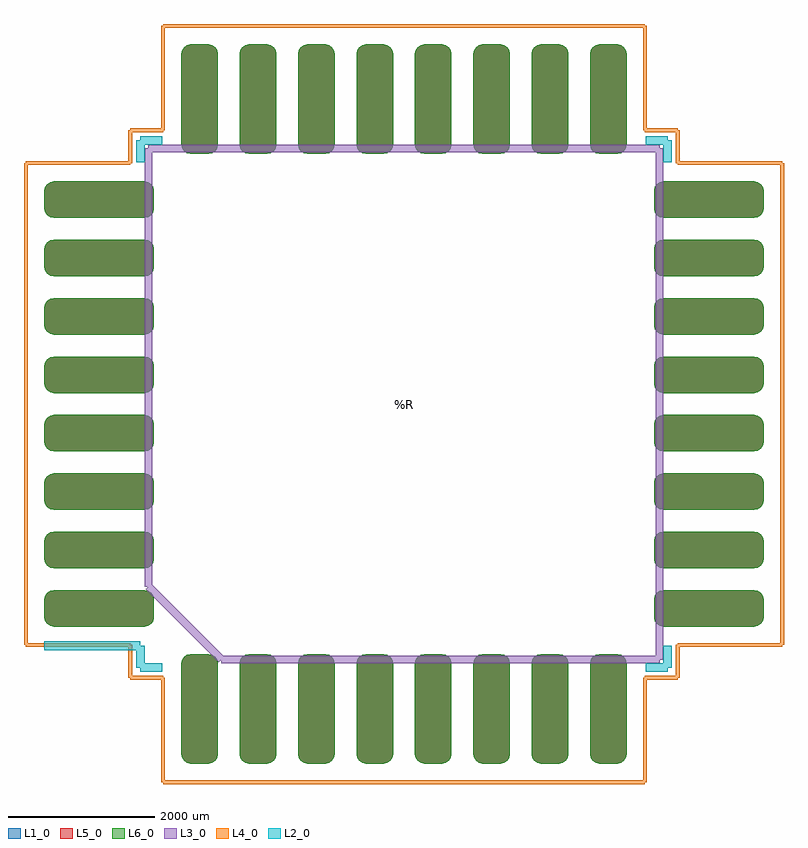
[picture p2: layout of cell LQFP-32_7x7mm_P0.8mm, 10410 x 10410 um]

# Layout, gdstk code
import gdstk
lib = gdstk.Library(unit=1e-6, precision=1e-09)
def P(c, l, *ps):  # polygons
    for p in ps: c.add(gdstk.Polygon(p, *l))
L1_0 = (1, 0)
L2_0 = (2, 0)
L3_0 = (3, 0)
L4_0 = (4, 0)
L5_0 = (5, 0)
L6_0 = (6, 0)

lqfp_32_7x7mm_p0_8mm = lib.new_cell('LQFP-32_7x7mm_P0.8mm')
P(lqfp_32_7x7mm_p0_8mm, L1_0, [(-3550,-3050),(-3502,-3040),(-3462,-3013),(-3435,-2973),(-3425,-2925),(-3425,-2675),(-3435,-2627),(-3462,-2587),(-3502,-2560),(-3550,-2550),(-4800,-2550),(-4848,-2560),(-4888,-2587),(-4915,-2627),(-4925,-2675),(-4925,-2925),(-4915,-2973),(-4888,-3013),(-4848,-3040),(-4800,-3050)],
  [(-3550,-2250),(-3502,-2240),(-3462,-2213),(-3435,-2173),(-3425,-2125),(-3425,-1875),(-3435,-1827),(-3462,-1787),(-3502,-1760),(-3550,-1750),(-4800,-1750),(-4848,-1760),(-4888,-1787),(-4915,-1827),(-4925,-1875),(-4925,-2125),(-4915,-2173),(-4888,-2213),(-4848,-2240),(-4800,-2250)],
  [(-3550,-1450),(-3502,-1440),(-3462,-1413),(-3435,-1373),(-3425,-1325),(-3425,-1075),(-3435,-1027),(-3462,-987),(-3502,-960),(-3550,-950),(-4800,-950),(-4848,-960),(-4888,-987),(-4915,-1027),(-4925,-1075),(-4925,-1325),(-4915,-1373),(-4888,-1413),(-4848,-1440),(-4800,-1450)],
  [(-3550,-650),(-3502,-640),(-3462,-613),(-3435,-573),(-3425,-525),(-3425,-275),(-3435,-227),(-3462,-187),(-3502,-160),(-3550,-150),(-4800,-150),(-4848,-160),(-4888,-187),(-4915,-227),(-4925,-275),(-4925,-525),(-4915,-573),(-4888,-613),(-4848,-640),(-4800,-650)],
  [(-3550,150),(-3502,160),(-3462,187),(-3435,227),(-3425,275),(-3425,525),(-3435,573),(-3462,613),(-3502,640),(-3550,650),(-4800,650),(-4848,640),(-4888,613),(-4915,573),(-4925,525),(-4925,275),(-4915,227),(-4888,187),(-4848,160),(-4800,150)],
  [(-3550,950),(-3502,960),(-3462,987),(-3435,1027),(-3425,1075),(-3425,1325),(-3435,1373),(-3462,1413),(-3502,1440),(-3550,1450),(-4800,1450),(-4848,1440),(-4888,1413),(-4915,1373),(-4925,1325),(-4925,1075),(-4915,1027),(-4888,987),(-4848,960),(-4800,950)],
  [(-3550,1750),(-3502,1760),(-3462,1787),(-3435,1827),(-3425,1875),(-3425,2125),(-3435,2173),(-3462,2213),(-3502,2240),(-3550,2250),(-4800,2250),(-4848,2240),(-4888,2213),(-4915,2173),(-4925,2125),(-4925,1875),(-4915,1827),(-4888,1787),(-4848,1760),(-4800,1750)],
  [(-3550,2550),(-3502,2560),(-3462,2587),(-3435,2627),(-3425,2675),(-3425,2925),(-3435,2973),(-3462,3013),(-3502,3040),(-3550,3050),(-4800,3050),(-4848,3040),(-4888,3013),(-4915,2973),(-4925,2925),(-4925,2675),(-4915,2627),(-4888,2587),(-4848,2560),(-4800,2550)],
  [(-2675,3425),(-2627,3435),(-2587,3462),(-2560,3502),(-2550,3550),(-2550,4800),(-2560,4848),(-2587,4888),(-2627,4915),(-2675,4925),(-2925,4925),(-2973,4915),(-3013,4888),(-3040,4848),(-3050,4800),(-3050,3550),(-3040,3502),(-3013,3462),(-2973,3435),(-2925,3425)],
  [(-1875,3425),(-1827,3435),(-1787,3462),(-1760,3502),(-1750,3550),(-1750,4800),(-1760,4848),(-1787,4888),(-1827,4915),(-1875,4925),(-2125,4925),(-2173,4915),(-2213,4888),(-2240,4848),(-2250,4800),(-2250,3550),(-2240,3502),(-2213,3462),(-2173,3435),(-2125,3425)],
  [(-1075,3425),(-1027,3435),(-987,3462),(-960,3502),(-950,3550),(-950,4800),(-960,4848),(-987,4888),(-1027,4915),(-1075,4925),(-1325,4925),(-1373,4915),(-1413,4888),(-1440,4848),(-1450,4800),(-1450,3550),(-1440,3502),(-1413,3462),(-1373,3435),(-1325,3425)],
  [(-275,3425),(-227,3435),(-187,3462),(-160,3502),(-150,3550),(-150,4800),(-160,4848),(-187,4888),(-227,4915),(-275,4925),(-525,4925),(-573,4915),(-613,4888),(-640,4848),(-650,4800),(-650,3550),(-640,3502),(-613,3462),(-573,3435),(-525,3425)],
  [(525,3425),(573,3435),(613,3462),(640,3502),(650,3550),(650,4800),(640,4848),(613,4888),(573,4915),(525,4925),(275,4925),(227,4915),(187,4888),(160,4848),(150,4800),(150,3550),(160,3502),(187,3462),(227,3435),(275,3425)],
  [(1325,3425),(1373,3435),(1413,3462),(1440,3502),(1450,3550),(1450,4800),(1440,4848),(1413,4888),(1373,4915),(1325,4925),(1075,4925),(1027,4915),(987,4888),(960,4848),(950,4800),(950,3550),(960,3502),(987,3462),(1027,3435),(1075,3425)],
  [(2125,3425),(2173,3435),(2213,3462),(2240,3502),(2250,3550),(2250,4800),(2240,4848),(2213,4888),(2173,4915),(2125,4925),(1875,4925),(1827,4915),(1787,4888),(1760,4848),(1750,4800),(1750,3550),(1760,3502),(1787,3462),(1827,3435),(1875,3425)],
  [(2925,3425),(2973,3435),(3013,3462),(3040,3502),(3050,3550),(3050,4800),(3040,4848),(3013,4888),(2973,4915),(2925,4925),(2675,4925),(2627,4915),(2587,4888),(2560,4848),(2550,4800),(2550,3550),(2560,3502),(2587,3462),(2627,3435),(2675,3425)],
  [(4800,2550),(4848,2560),(4888,2587),(4915,2627),(4925,2675),(4925,2925),(4915,2973),(4888,3013),(4848,3040),(4800,3050),(3550,3050),(3502,3040),(3462,3013),(3435,2973),(3425,2925),(3425,2675),(3435,2627),(3462,2587),(3502,2560),(3550,2550)],
  [(4800,1750),(4848,1760),(4888,1787),(4915,1827),(4925,1875),(4925,2125),(4915,2173),(4888,2213),(4848,2240),(4800,2250),(3550,2250),(3502,2240),(3462,2213),(3435,2173),(3425,2125),(3425,1875),(3435,1827),(3462,1787),(3502,1760),(3550,1750)],
  [(4800,950),(4848,960),(4888,987),(4915,1027),(4925,1075),(4925,1325),(4915,1373),(4888,1413),(4848,1440),(4800,1450),(3550,1450),(3502,1440),(3462,1413),(3435,1373),(3425,1325),(3425,1075),(3435,1027),(3462,987),(3502,960),(3550,950)],
  [(4800,150),(4848,160),(4888,187),(4915,227),(4925,275),(4925,525),(4915,573),(4888,613),(4848,640),(4800,650),(3550,650),(3502,640),(3462,613),(3435,573),(3425,525),(3425,275),(3435,227),(3462,187),(3502,160),(3550,150)],
  [(4800,-650),(4848,-640),(4888,-613),(4915,-573),(4925,-525),(4925,-275),(4915,-227),(4888,-187),(4848,-160),(4800,-150),(3550,-150),(3502,-160),(3462,-187),(3435,-227),(3425,-275),(3425,-525),(3435,-573),(3462,-613),(3502,-640),(3550,-650)],
  [(4800,-1450),(4848,-1440),(4888,-1413),(4915,-1373),(4925,-1325),(4925,-1075),(4915,-1027),(4888,-987),(4848,-960),(4800,-950),(3550,-950),(3502,-960),(3462,-987),(3435,-1027),(3425,-1075),(3425,-1325),(3435,-1373),(3462,-1413),(3502,-1440),(3550,-1450)],
  [(4800,-2250),(4848,-2240),(4888,-2213),(4915,-2173),(4925,-2125),(4925,-1875),(4915,-1827),(4888,-1787),(4848,-1760),(4800,-1750),(3550,-1750),(3502,-1760),(3462,-1787),(3435,-1827),(3425,-1875),(3425,-2125),(3435,-2173),(3462,-2213),(3502,-2240),(3550,-2250)],
  [(4800,-3050),(4848,-3040),(4888,-3013),(4915,-2973),(4925,-2925),(4925,-2675),(4915,-2627),(4888,-2587),(4848,-2560),(4800,-2550),(3550,-2550),(3502,-2560),(3462,-2587),(3435,-2627),(3425,-2675),(3425,-2925),(3435,-2973),(3462,-3013),(3502,-3040),(3550,-3050)],
  [(2925,-4925),(2973,-4915),(3013,-4888),(3040,-4848),(3050,-4800),(3050,-3550),(3040,-3502),(3013,-3462),(2973,-3435),(2925,-3425),(2675,-3425),(2627,-3435),(2587,-3462),(2560,-3502),(2550,-3550),(2550,-4800),(2560,-4848),(2587,-4888),(2627,-4915),(2675,-4925)],
  [(2125,-4925),(2173,-4915),(2213,-4888),(2240,-4848),(2250,-4800),(2250,-3550),(2240,-3502),(2213,-3462),(2173,-3435),(2125,-3425),(1875,-3425),(1827,-3435),(1787,-3462),(1760,-3502),(1750,-3550),(1750,-4800),(1760,-4848),(1787,-4888),(1827,-4915),(1875,-4925)],
  [(1325,-4925),(1373,-4915),(1413,-4888),(1440,-4848),(1450,-4800),(1450,-3550),(1440,-3502),(1413,-3462),(1373,-3435),(1325,-3425),(1075,-3425),(1027,-3435),(987,-3462),(960,-3502),(950,-3550),(950,-4800),(960,-4848),(987,-4888),(1027,-4915),(1075,-4925)],
  [(525,-4925),(573,-4915),(613,-4888),(640,-4848),(650,-4800),(650,-3550),(640,-3502),(613,-3462),(573,-3435),(525,-3425),(275,-3425),(227,-3435),(187,-3462),(160,-3502),(150,-3550),(150,-4800),(160,-4848),(187,-4888),(227,-4915),(275,-4925)],
  [(-275,-4925),(-227,-4915),(-187,-4888),(-160,-4848),(-150,-4800),(-150,-3550),(-160,-3502),(-187,-3462),(-227,-3435),(-275,-3425),(-525,-3425),(-573,-3435),(-613,-3462),(-640,-3502),(-650,-3550),(-650,-4800),(-640,-4848),(-613,-4888),(-573,-4915),(-525,-4925)],
  [(-1075,-4925),(-1027,-4915),(-987,-4888),(-960,-4848),(-950,-4800),(-950,-3550),(-960,-3502),(-987,-3462),(-1027,-3435),(-1075,-3425),(-1325,-3425),(-1373,-3435),(-1413,-3462),(-1440,-3502),(-1450,-3550),(-1450,-4800),(-1440,-4848),(-1413,-4888),(-1373,-4915),(-1325,-4925)],
  [(-1875,-4925),(-1827,-4915),(-1787,-4888),(-1760,-4848),(-1750,-4800),(-1750,-3550),(-1760,-3502),(-1787,-3462),(-1827,-3435),(-1875,-3425),(-2125,-3425),(-2173,-3435),(-2213,-3462),(-2240,-3502),(-2250,-3550),(-2250,-4800),(-2240,-4848),(-2213,-4888),(-2173,-4915),(-2125,-4925)],
  [(-2675,-4925),(-2627,-4915),(-2587,-4888),(-2560,-4848),(-2550,-4800),(-2550,-3550),(-2560,-3502),(-2587,-3462),(-2627,-3435),(-2675,-3425),(-2925,-3425),(-2973,-3435),(-3013,-3462),(-3040,-3502),(-3050,-3550),(-3050,-4800),(-3040,-4848),(-3013,-4888),(-2973,-4915),(-2925,-4925)])
P(lqfp_32_7x7mm_p0_8mm, L5_0, [(-3550,-3050),(-3502,-3040),(-3462,-3013),(-3435,-2973),(-3425,-2925),(-3425,-2675),(-3435,-2627),(-3462,-2587),(-3502,-2560),(-3550,-2550),(-4800,-2550),(-4848,-2560),(-4888,-2587),(-4915,-2627),(-4925,-2675),(-4925,-2925),(-4915,-2973),(-4888,-3013),(-4848,-3040),(-4800,-3050)],
  [(-3550,-2250),(-3502,-2240),(-3462,-2213),(-3435,-2173),(-3425,-2125),(-3425,-1875),(-3435,-1827),(-3462,-1787),(-3502,-1760),(-3550,-1750),(-4800,-1750),(-4848,-1760),(-4888,-1787),(-4915,-1827),(-4925,-1875),(-4925,-2125),(-4915,-2173),(-4888,-2213),(-4848,-2240),(-4800,-2250)],
  [(-3550,-1450),(-3502,-1440),(-3462,-1413),(-3435,-1373),(-3425,-1325),(-3425,-1075),(-3435,-1027),(-3462,-987),(-3502,-960),(-3550,-950),(-4800,-950),(-4848,-960),(-4888,-987),(-4915,-1027),(-4925,-1075),(-4925,-1325),(-4915,-1373),(-4888,-1413),(-4848,-1440),(-4800,-1450)],
  [(-3550,-650),(-3502,-640),(-3462,-613),(-3435,-573),(-3425,-525),(-3425,-275),(-3435,-227),(-3462,-187),(-3502,-160),(-3550,-150),(-4800,-150),(-4848,-160),(-4888,-187),(-4915,-227),(-4925,-275),(-4925,-525),(-4915,-573),(-4888,-613),(-4848,-640),(-4800,-650)],
  [(-3550,150),(-3502,160),(-3462,187),(-3435,227),(-3425,275),(-3425,525),(-3435,573),(-3462,613),(-3502,640),(-3550,650),(-4800,650),(-4848,640),(-4888,613),(-4915,573),(-4925,525),(-4925,275),(-4915,227),(-4888,187),(-4848,160),(-4800,150)],
  [(-3550,950),(-3502,960),(-3462,987),(-3435,1027),(-3425,1075),(-3425,1325),(-3435,1373),(-3462,1413),(-3502,1440),(-3550,1450),(-4800,1450),(-4848,1440),(-4888,1413),(-4915,1373),(-4925,1325),(-4925,1075),(-4915,1027),(-4888,987),(-4848,960),(-4800,950)],
  [(-3550,1750),(-3502,1760),(-3462,1787),(-3435,1827),(-3425,1875),(-3425,2125),(-3435,2173),(-3462,2213),(-3502,2240),(-3550,2250),(-4800,2250),(-4848,2240),(-4888,2213),(-4915,2173),(-4925,2125),(-4925,1875),(-4915,1827),(-4888,1787),(-4848,1760),(-4800,1750)],
  [(-3550,2550),(-3502,2560),(-3462,2587),(-3435,2627),(-3425,2675),(-3425,2925),(-3435,2973),(-3462,3013),(-3502,3040),(-3550,3050),(-4800,3050),(-4848,3040),(-4888,3013),(-4915,2973),(-4925,2925),(-4925,2675),(-4915,2627),(-4888,2587),(-4848,2560),(-4800,2550)],
  [(-2675,3425),(-2627,3435),(-2587,3462),(-2560,3502),(-2550,3550),(-2550,4800),(-2560,4848),(-2587,4888),(-2627,4915),(-2675,4925),(-2925,4925),(-2973,4915),(-3013,4888),(-3040,4848),(-3050,4800),(-3050,3550),(-3040,3502),(-3013,3462),(-2973,3435),(-2925,3425)],
  [(-1875,3425),(-1827,3435),(-1787,3462),(-1760,3502),(-1750,3550),(-1750,4800),(-1760,4848),(-1787,4888),(-1827,4915),(-1875,4925),(-2125,4925),(-2173,4915),(-2213,4888),(-2240,4848),(-2250,4800),(-2250,3550),(-2240,3502),(-2213,3462),(-2173,3435),(-2125,3425)],
  [(-1075,3425),(-1027,3435),(-987,3462),(-960,3502),(-950,3550),(-950,4800),(-960,4848),(-987,4888),(-1027,4915),(-1075,4925),(-1325,4925),(-1373,4915),(-1413,4888),(-1440,4848),(-1450,4800),(-1450,3550),(-1440,3502),(-1413,3462),(-1373,3435),(-1325,3425)],
  [(-275,3425),(-227,3435),(-187,3462),(-160,3502),(-150,3550),(-150,4800),(-160,4848),(-187,4888),(-227,4915),(-275,4925),(-525,4925),(-573,4915),(-613,4888),(-640,4848),(-650,4800),(-650,3550),(-640,3502),(-613,3462),(-573,3435),(-525,3425)],
  [(525,3425),(573,3435),(613,3462),(640,3502),(650,3550),(650,4800),(640,4848),(613,4888),(573,4915),(525,4925),(275,4925),(227,4915),(187,4888),(160,4848),(150,4800),(150,3550),(160,3502),(187,3462),(227,3435),(275,3425)],
  [(1325,3425),(1373,3435),(1413,3462),(1440,3502),(1450,3550),(1450,4800),(1440,4848),(1413,4888),(1373,4915),(1325,4925),(1075,4925),(1027,4915),(987,4888),(960,4848),(950,4800),(950,3550),(960,3502),(987,3462),(1027,3435),(1075,3425)],
  [(2125,3425),(2173,3435),(2213,3462),(2240,3502),(2250,3550),(2250,4800),(2240,4848),(2213,4888),(2173,4915),(2125,4925),(1875,4925),(1827,4915),(1787,4888),(1760,4848),(1750,4800),(1750,3550),(1760,3502),(1787,3462),(1827,3435),(1875,3425)],
  [(2925,3425),(2973,3435),(3013,3462),(3040,3502),(3050,3550),(3050,4800),(3040,4848),(3013,4888),(2973,4915),(2925,4925),(2675,4925),(2627,4915),(2587,4888),(2560,4848),(2550,4800),(2550,3550),(2560,3502),(2587,3462),(2627,3435),(2675,3425)],
  [(4800,2550),(4848,2560),(4888,2587),(4915,2627),(4925,2675),(4925,2925),(4915,2973),(4888,3013),(4848,3040),(4800,3050),(3550,3050),(3502,3040),(3462,3013),(3435,2973),(3425,2925),(3425,2675),(3435,2627),(3462,2587),(3502,2560),(3550,2550)],
  [(4800,1750),(4848,1760),(4888,1787),(4915,1827),(4925,1875),(4925,2125),(4915,2173),(4888,2213),(4848,2240),(4800,2250),(3550,2250),(3502,2240),(3462,2213),(3435,2173),(3425,2125),(3425,1875),(3435,1827),(3462,1787),(3502,1760),(3550,1750)],
  [(4800,950),(4848,960),(4888,987),(4915,1027),(4925,1075),(4925,1325),(4915,1373),(4888,1413),(4848,1440),(4800,1450),(3550,1450),(3502,1440),(3462,1413),(3435,1373),(3425,1325),(3425,1075),(3435,1027),(3462,987),(3502,960),(3550,950)],
  [(4800,150),(4848,160),(4888,187),(4915,227),(4925,275),(4925,525),(4915,573),(4888,613),(4848,640),(4800,650),(3550,650),(3502,640),(3462,613),(3435,573),(3425,525),(3425,275),(3435,227),(3462,187),(3502,160),(3550,150)],
  [(4800,-650),(4848,-640),(4888,-613),(4915,-573),(4925,-525),(4925,-275),(4915,-227),(4888,-187),(4848,-160),(4800,-150),(3550,-150),(3502,-160),(3462,-187),(3435,-227),(3425,-275),(3425,-525),(3435,-573),(3462,-613),(3502,-640),(3550,-650)],
  [(4800,-1450),(4848,-1440),(4888,-1413),(4915,-1373),(4925,-1325),(4925,-1075),(4915,-1027),(4888,-987),(4848,-960),(4800,-950),(3550,-950),(3502,-960),(3462,-987),(3435,-1027),(3425,-1075),(3425,-1325),(3435,-1373),(3462,-1413),(3502,-1440),(3550,-1450)],
  [(4800,-2250),(4848,-2240),(4888,-2213),(4915,-2173),(4925,-2125),(4925,-1875),(4915,-1827),(4888,-1787),(4848,-1760),(4800,-1750),(3550,-1750),(3502,-1760),(3462,-1787),(3435,-1827),(3425,-1875),(3425,-2125),(3435,-2173),(3462,-2213),(3502,-2240),(3550,-2250)],
  [(4800,-3050),(4848,-3040),(4888,-3013),(4915,-2973),(4925,-2925),(4925,-2675),(4915,-2627),(4888,-2587),(4848,-2560),(4800,-2550),(3550,-2550),(3502,-2560),(3462,-2587),(3435,-2627),(3425,-2675),(3425,-2925),(3435,-2973),(3462,-3013),(3502,-3040),(3550,-3050)],
  [(2925,-4925),(2973,-4915),(3013,-4888),(3040,-4848),(3050,-4800),(3050,-3550),(3040,-3502),(3013,-3462),(2973,-3435),(2925,-3425),(2675,-3425),(2627,-3435),(2587,-3462),(2560,-3502),(2550,-3550),(2550,-4800),(2560,-4848),(2587,-4888),(2627,-4915),(2675,-4925)],
  [(2125,-4925),(2173,-4915),(2213,-4888),(2240,-4848),(2250,-4800),(2250,-3550),(2240,-3502),(2213,-3462),(2173,-3435),(2125,-3425),(1875,-3425),(1827,-3435),(1787,-3462),(1760,-3502),(1750,-3550),(1750,-4800),(1760,-4848),(1787,-4888),(1827,-4915),(1875,-4925)],
  [(1325,-4925),(1373,-4915),(1413,-4888),(1440,-4848),(1450,-4800),(1450,-3550),(1440,-3502),(1413,-3462),(1373,-3435),(1325,-3425),(1075,-3425),(1027,-3435),(987,-3462),(960,-3502),(950,-3550),(950,-4800),(960,-4848),(987,-4888),(1027,-4915),(1075,-4925)],
  [(525,-4925),(573,-4915),(613,-4888),(640,-4848),(650,-4800),(650,-3550),(640,-3502),(613,-3462),(573,-3435),(525,-3425),(275,-3425),(227,-3435),(187,-3462),(160,-3502),(150,-3550),(150,-4800),(160,-4848),(187,-4888),(227,-4915),(275,-4925)],
  [(-275,-4925),(-227,-4915),(-187,-4888),(-160,-4848),(-150,-4800),(-150,-3550),(-160,-3502),(-187,-3462),(-227,-3435),(-275,-3425),(-525,-3425),(-573,-3435),(-613,-3462),(-640,-3502),(-650,-3550),(-650,-4800),(-640,-4848),(-613,-4888),(-573,-4915),(-525,-4925)],
  [(-1075,-4925),(-1027,-4915),(-987,-4888),(-960,-4848),(-950,-4800),(-950,-3550),(-960,-3502),(-987,-3462),(-1027,-3435),(-1075,-3425),(-1325,-3425),(-1373,-3435),(-1413,-3462),(-1440,-3502),(-1450,-3550),(-1450,-4800),(-1440,-4848),(-1413,-4888),(-1373,-4915),(-1325,-4925)],
  [(-1875,-4925),(-1827,-4915),(-1787,-4888),(-1760,-4848),(-1750,-4800),(-1750,-3550),(-1760,-3502),(-1787,-3462),(-1827,-3435),(-1875,-3425),(-2125,-3425),(-2173,-3435),(-2213,-3462),(-2240,-3502),(-2250,-3550),(-2250,-4800),(-2240,-4848),(-2213,-4888),(-2173,-4915),(-2125,-4925)],
  [(-2675,-4925),(-2627,-4915),(-2587,-4888),(-2560,-4848),(-2550,-4800),(-2550,-3550),(-2560,-3502),(-2587,-3462),(-2627,-3435),(-2675,-3425),(-2925,-3425),(-2973,-3435),(-3013,-3462),(-3040,-3502),(-3050,-3550),(-3050,-4800),(-3040,-4848),(-3013,-4888),(-2973,-4915),(-2925,-4925)])
P(lqfp_32_7x7mm_p0_8mm, L6_0, [(-3550,-3050),(-3502,-3040),(-3462,-3013),(-3435,-2973),(-3425,-2925),(-3425,-2675),(-3435,-2627),(-3462,-2587),(-3502,-2560),(-3550,-2550),(-4800,-2550),(-4848,-2560),(-4888,-2587),(-4915,-2627),(-4925,-2675),(-4925,-2925),(-4915,-2973),(-4888,-3013),(-4848,-3040),(-4800,-3050)],
  [(-3550,-2250),(-3502,-2240),(-3462,-2213),(-3435,-2173),(-3425,-2125),(-3425,-1875),(-3435,-1827),(-3462,-1787),(-3502,-1760),(-3550,-1750),(-4800,-1750),(-4848,-1760),(-4888,-1787),(-4915,-1827),(-4925,-1875),(-4925,-2125),(-4915,-2173),(-4888,-2213),(-4848,-2240),(-4800,-2250)],
  [(-3550,-1450),(-3502,-1440),(-3462,-1413),(-3435,-1373),(-3425,-1325),(-3425,-1075),(-3435,-1027),(-3462,-987),(-3502,-960),(-3550,-950),(-4800,-950),(-4848,-960),(-4888,-987),(-4915,-1027),(-4925,-1075),(-4925,-1325),(-4915,-1373),(-4888,-1413),(-4848,-1440),(-4800,-1450)],
  [(-3550,-650),(-3502,-640),(-3462,-613),(-3435,-573),(-3425,-525),(-3425,-275),(-3435,-227),(-3462,-187),(-3502,-160),(-3550,-150),(-4800,-150),(-4848,-160),(-4888,-187),(-4915,-227),(-4925,-275),(-4925,-525),(-4915,-573),(-4888,-613),(-4848,-640),(-4800,-650)],
  [(-3550,150),(-3502,160),(-3462,187),(-3435,227),(-3425,275),(-3425,525),(-3435,573),(-3462,613),(-3502,640),(-3550,650),(-4800,650),(-4848,640),(-4888,613),(-4915,573),(-4925,525),(-4925,275),(-4915,227),(-4888,187),(-4848,160),(-4800,150)],
  [(-3550,950),(-3502,960),(-3462,987),(-3435,1027),(-3425,1075),(-3425,1325),(-3435,1373),(-3462,1413),(-3502,1440),(-3550,1450),(-4800,1450),(-4848,1440),(-4888,1413),(-4915,1373),(-4925,1325),(-4925,1075),(-4915,1027),(-4888,987),(-4848,960),(-4800,950)],
  [(-3550,1750),(-3502,1760),(-3462,1787),(-3435,1827),(-3425,1875),(-3425,2125),(-3435,2173),(-3462,2213),(-3502,2240),(-3550,2250),(-4800,2250),(-4848,2240),(-4888,2213),(-4915,2173),(-4925,2125),(-4925,1875),(-4915,1827),(-4888,1787),(-4848,1760),(-4800,1750)],
  [(-3550,2550),(-3502,2560),(-3462,2587),(-3435,2627),(-3425,2675),(-3425,2925),(-3435,2973),(-3462,3013),(-3502,3040),(-3550,3050),(-4800,3050),(-4848,3040),(-4888,3013),(-4915,2973),(-4925,2925),(-4925,2675),(-4915,2627),(-4888,2587),(-4848,2560),(-4800,2550)],
  [(-2675,3425),(-2627,3435),(-2587,3462),(-2560,3502),(-2550,3550),(-2550,4800),(-2560,4848),(-2587,4888),(-2627,4915),(-2675,4925),(-2925,4925),(-2973,4915),(-3013,4888),(-3040,4848),(-3050,4800),(-3050,3550),(-3040,3502),(-3013,3462),(-2973,3435),(-2925,3425)],
  [(-1875,3425),(-1827,3435),(-1787,3462),(-1760,3502),(-1750,3550),(-1750,4800),(-1760,4848),(-1787,4888),(-1827,4915),(-1875,4925),(-2125,4925),(-2173,4915),(-2213,4888),(-2240,4848),(-2250,4800),(-2250,3550),(-2240,3502),(-2213,3462),(-2173,3435),(-2125,3425)],
  [(-1075,3425),(-1027,3435),(-987,3462),(-960,3502),(-950,3550),(-950,4800),(-960,4848),(-987,4888),(-1027,4915),(-1075,4925),(-1325,4925),(-1373,4915),(-1413,4888),(-1440,4848),(-1450,4800),(-1450,3550),(-1440,3502),(-1413,3462),(-1373,3435),(-1325,3425)],
  [(-275,3425),(-227,3435),(-187,3462),(-160,3502),(-150,3550),(-150,4800),(-160,4848),(-187,4888),(-227,4915),(-275,4925),(-525,4925),(-573,4915),(-613,4888),(-640,4848),(-650,4800),(-650,3550),(-640,3502),(-613,3462),(-573,3435),(-525,3425)],
  [(525,3425),(573,3435),(613,3462),(640,3502),(650,3550),(650,4800),(640,4848),(613,4888),(573,4915),(525,4925),(275,4925),(227,4915),(187,4888),(160,4848),(150,4800),(150,3550),(160,3502),(187,3462),(227,3435),(275,3425)],
  [(1325,3425),(1373,3435),(1413,3462),(1440,3502),(1450,3550),(1450,4800),(1440,4848),(1413,4888),(1373,4915),(1325,4925),(1075,4925),(1027,4915),(987,4888),(960,4848),(950,4800),(950,3550),(960,3502),(987,3462),(1027,3435),(1075,3425)],
  [(2125,3425),(2173,3435),(2213,3462),(2240,3502),(2250,3550),(2250,4800),(2240,4848),(2213,4888),(2173,4915),(2125,4925),(1875,4925),(1827,4915),(1787,4888),(1760,4848),(1750,4800),(1750,3550),(1760,3502),(1787,3462),(1827,3435),(1875,3425)],
  [(2925,3425),(2973,3435),(3013,3462),(3040,3502),(3050,3550),(3050,4800),(3040,4848),(3013,4888),(2973,4915),(2925,4925),(2675,4925),(2627,4915),(2587,4888),(2560,4848),(2550,4800),(2550,3550),(2560,3502),(2587,3462),(2627,3435),(2675,3425)],
  [(4800,2550),(4848,2560),(4888,2587),(4915,2627),(4925,2675),(4925,2925),(4915,2973),(4888,3013),(4848,3040),(4800,3050),(3550,3050),(3502,3040),(3462,3013),(3435,2973),(3425,2925),(3425,2675),(3435,2627),(3462,2587),(3502,2560),(3550,2550)],
  [(4800,1750),(4848,1760),(4888,1787),(4915,1827),(4925,1875),(4925,2125),(4915,2173),(4888,2213),(4848,2240),(4800,2250),(3550,2250),(3502,2240),(3462,2213),(3435,2173),(3425,2125),(3425,1875),(3435,1827),(3462,1787),(3502,1760),(3550,1750)],
  [(4800,950),(4848,960),(4888,987),(4915,1027),(4925,1075),(4925,1325),(4915,1373),(4888,1413),(4848,1440),(4800,1450),(3550,1450),(3502,1440),(3462,1413),(3435,1373),(3425,1325),(3425,1075),(3435,1027),(3462,987),(3502,960),(3550,950)],
  [(4800,150),(4848,160),(4888,187),(4915,227),(4925,275),(4925,525),(4915,573),(4888,613),(4848,640),(4800,650),(3550,650),(3502,640),(3462,613),(3435,573),(3425,525),(3425,275),(3435,227),(3462,187),(3502,160),(3550,150)],
  [(4800,-650),(4848,-640),(4888,-613),(4915,-573),(4925,-525),(4925,-275),(4915,-227),(4888,-187),(4848,-160),(4800,-150),(3550,-150),(3502,-160),(3462,-187),(3435,-227),(3425,-275),(3425,-525),(3435,-573),(3462,-613),(3502,-640),(3550,-650)],
  [(4800,-1450),(4848,-1440),(4888,-1413),(4915,-1373),(4925,-1325),(4925,-1075),(4915,-1027),(4888,-987),(4848,-960),(4800,-950),(3550,-950),(3502,-960),(3462,-987),(3435,-1027),(3425,-1075),(3425,-1325),(3435,-1373),(3462,-1413),(3502,-1440),(3550,-1450)],
  [(4800,-2250),(4848,-2240),(4888,-2213),(4915,-2173),(4925,-2125),(4925,-1875),(4915,-1827),(4888,-1787),(4848,-1760),(4800,-1750),(3550,-1750),(3502,-1760),(3462,-1787),(3435,-1827),(3425,-1875),(3425,-2125),(3435,-2173),(3462,-2213),(3502,-2240),(3550,-2250)],
  [(4800,-3050),(4848,-3040),(4888,-3013),(4915,-2973),(4925,-2925),(4925,-2675),(4915,-2627),(4888,-2587),(4848,-2560),(4800,-2550),(3550,-2550),(3502,-2560),(3462,-2587),(3435,-2627),(3425,-2675),(3425,-2925),(3435,-2973),(3462,-3013),(3502,-3040),(3550,-3050)],
  [(2925,-4925),(2973,-4915),(3013,-4888),(3040,-4848),(3050,-4800),(3050,-3550),(3040,-3502),(3013,-3462),(2973,-3435),(2925,-3425),(2675,-3425),(2627,-3435),(2587,-3462),(2560,-3502),(2550,-3550),(2550,-4800),(2560,-4848),(2587,-4888),(2627,-4915),(2675,-4925)],
  [(2125,-4925),(2173,-4915),(2213,-4888),(2240,-4848),(2250,-4800),(2250,-3550),(2240,-3502),(2213,-3462),(2173,-3435),(2125,-3425),(1875,-3425),(1827,-3435),(1787,-3462),(1760,-3502),(1750,-3550),(1750,-4800),(1760,-4848),(1787,-4888),(1827,-4915),(1875,-4925)],
  [(1325,-4925),(1373,-4915),(1413,-4888),(1440,-4848),(1450,-4800),(1450,-3550),(1440,-3502),(1413,-3462),(1373,-3435),(1325,-3425),(1075,-3425),(1027,-3435),(987,-3462),(960,-3502),(950,-3550),(950,-4800),(960,-4848),(987,-4888),(1027,-4915),(1075,-4925)],
  [(525,-4925),(573,-4915),(613,-4888),(640,-4848),(650,-4800),(650,-3550),(640,-3502),(613,-3462),(573,-3435),(525,-3425),(275,-3425),(227,-3435),(187,-3462),(160,-3502),(150,-3550),(150,-4800),(160,-4848),(187,-4888),(227,-4915),(275,-4925)],
  [(-275,-4925),(-227,-4915),(-187,-4888),(-160,-4848),(-150,-4800),(-150,-3550),(-160,-3502),(-187,-3462),(-227,-3435),(-275,-3425),(-525,-3425),(-573,-3435),(-613,-3462),(-640,-3502),(-650,-3550),(-650,-4800),(-640,-4848),(-613,-4888),(-573,-4915),(-525,-4925)],
  [(-1075,-4925),(-1027,-4915),(-987,-4888),(-960,-4848),(-950,-4800),(-950,-3550),(-960,-3502),(-987,-3462),(-1027,-3435),(-1075,-3425),(-1325,-3425),(-1373,-3435),(-1413,-3462),(-1440,-3502),(-1450,-3550),(-1450,-4800),(-1440,-4848),(-1413,-4888),(-1373,-4915),(-1325,-4925)],
  [(-1875,-4925),(-1827,-4915),(-1787,-4888),(-1760,-4848),(-1750,-4800),(-1750,-3550),(-1760,-3502),(-1787,-3462),(-1827,-3435),(-1875,-3425),(-2125,-3425),(-2173,-3435),(-2213,-3462),(-2240,-3502),(-2250,-3550),(-2250,-4800),(-2240,-4848),(-2213,-4888),(-2173,-4915),(-2125,-4925)],
  [(-2675,-4925),(-2627,-4915),(-2587,-4888),(-2560,-4848),(-2550,-4800),(-2550,-3550),(-2560,-3502),(-2587,-3462),(-2627,-3435),(-2675,-3425),(-2925,-3425),(-2973,-3435),(-3013,-3462),(-3040,-3502),(-3050,-3550),(-3050,-4800),(-3040,-4848),(-3013,-4888),(-2973,-4915),(-2925,-4925)])
lqfp_32_7x7mm_p0_8mm.add(gdstk.FlexPath([(3310,3610),(3610,3610)], 120, ends="flush", simple_path=True, layer=2, datatype=0))  # L2_0
lqfp_32_7x7mm_p0_8mm.add(gdstk.FlexPath([(3610,3610),(3610,3310)], 120, ends="flush", simple_path=True, layer=2, datatype=0))  # L2_0
lqfp_32_7x7mm_p0_8mm.add(gdstk.FlexPath([(-3310,3610),(-3610,3610)], 120, ends="flush", simple_path=True, layer=2, datatype=0))  # L2_0
lqfp_32_7x7mm_p0_8mm.add(gdstk.FlexPath([(-3610,3610),(-3610,3310)], 120, ends="flush", simple_path=True, layer=2, datatype=0))  # L2_0
lqfp_32_7x7mm_p0_8mm.add(gdstk.FlexPath([(3310,-3610),(3610,-3610)], 120, ends="flush", simple_path=True, layer=2, datatype=0))  # L2_0
lqfp_32_7x7mm_p0_8mm.add(gdstk.FlexPath([(3610,-3610),(3610,-3310)], 120, ends="flush", simple_path=True, layer=2, datatype=0))  # L2_0
lqfp_32_7x7mm_p0_8mm.add(gdstk.FlexPath([(-3310,-3610),(-3610,-3610)], 120, ends="flush", simple_path=True, layer=2, datatype=0))  # L2_0
lqfp_32_7x7mm_p0_8mm.add(gdstk.FlexPath([(-3610,-3610),(-3610,-3310)], 120, ends="flush", simple_path=True, layer=2, datatype=0))  # L2_0
lqfp_32_7x7mm_p0_8mm.add(gdstk.FlexPath([(-3610,-3310),(-4925,-3310)], 120, ends="flush", simple_path=True, layer=2, datatype=0))  # L2_0
lqfp_32_7x7mm_p0_8mm.add(gdstk.FlexPath([(-2500,-3500),(3500,-3500)], 100, ends="flush", simple_path=True, layer=3, datatype=0))  # L3_0
lqfp_32_7x7mm_p0_8mm.add(gdstk.FlexPath([(3500,-3500),(3500,3500)], 100, ends="flush", simple_path=True, layer=3, datatype=0))  # L3_0
lqfp_32_7x7mm_p0_8mm.add(gdstk.FlexPath([(3500,3500),(-3500,3500)], 100, ends="flush", simple_path=True, layer=3, datatype=0))  # L3_0
lqfp_32_7x7mm_p0_8mm.add(gdstk.FlexPath([(-3500,3500),(-3500,-2500)], 100, ends="flush", simple_path=True, layer=3, datatype=0))  # L3_0
lqfp_32_7x7mm_p0_8mm.add(gdstk.FlexPath([(-3500,-2500),(-2500,-3500)], 100, ends="flush", simple_path=True, layer=3, datatype=0))  # L3_0
lqfp_32_7x7mm_p0_8mm.add(gdstk.FlexPath([(0,-5180),(-3300,-5180)], 50, ends="flush", simple_path=True, layer=4, datatype=0))  # L4_0
lqfp_32_7x7mm_p0_8mm.add(gdstk.FlexPath([(-3300,-5180),(-3300,-3750)], 50, ends="flush", simple_path=True, layer=4, datatype=0))  # L4_0
lqfp_32_7x7mm_p0_8mm.add(gdstk.FlexPath([(-3300,-3750),(-3750,-3750)], 50, ends="flush", simple_path=True, layer=4, datatype=0))  # L4_0
lqfp_32_7x7mm_p0_8mm.add(gdstk.FlexPath([(-3750,-3750),(-3750,-3300)], 50, ends="flush", simple_path=True, layer=4, datatype=0))  # L4_0
lqfp_32_7x7mm_p0_8mm.add(gdstk.FlexPath([(-3750,-3300),(-5180,-3300)], 50, ends="flush", simple_path=True, layer=4, datatype=0))  # L4_0
lqfp_32_7x7mm_p0_8mm.add(gdstk.FlexPath([(-5180,-3300),(-5180,0)], 50, ends="flush", simple_path=True, layer=4, datatype=0))  # L4_0
lqfp_32_7x7mm_p0_8mm.add(gdstk.FlexPath([(0,-5180),(3300,-5180)], 50, ends="flush", simple_path=True, layer=4, datatype=0))  # L4_0
lqfp_32_7x7mm_p0_8mm.add(gdstk.FlexPath([(3300,-5180),(3300,-3750)], 50, ends="flush", simple_path=True, layer=4, datatype=0))  # L4_0
lqfp_32_7x7mm_p0_8mm.add(gdstk.FlexPath([(3300,-3750),(3750,-3750)], 50, ends="flush", simple_path=True, layer=4, datatype=0))  # L4_0
lqfp_32_7x7mm_p0_8mm.add(gdstk.FlexPath([(3750,-3750),(3750,-3300)], 50, ends="flush", simple_path=True, layer=4, datatype=0))  # L4_0
lqfp_32_7x7mm_p0_8mm.add(gdstk.FlexPath([(3750,-3300),(5180,-3300)], 50, ends="flush", simple_path=True, layer=4, datatype=0))  # L4_0
lqfp_32_7x7mm_p0_8mm.add(gdstk.FlexPath([(5180,-3300),(5180,0)], 50, ends="flush", simple_path=True, layer=4, datatype=0))  # L4_0
lqfp_32_7x7mm_p0_8mm.add(gdstk.FlexPath([(0,5180),(-3300,5180)], 50, ends="flush", simple_path=True, layer=4, datatype=0))  # L4_0
lqfp_32_7x7mm_p0_8mm.add(gdstk.FlexPath([(-3300,5180),(-3300,3750)], 50, ends="flush", simple_path=True, layer=4, datatype=0))  # L4_0
lqfp_32_7x7mm_p0_8mm.add(gdstk.FlexPath([(-3300,3750),(-3750,3750)], 50, ends="flush", simple_path=True, layer=4, datatype=0))  # L4_0
lqfp_32_7x7mm_p0_8mm.add(gdstk.FlexPath([(-3750,3750),(-3750,3300)], 50, ends="flush", simple_path=True, layer=4, datatype=0))  # L4_0
lqfp_32_7x7mm_p0_8mm.add(gdstk.FlexPath([(-3750,3300),(-5180,3300)], 50, ends="flush", simple_path=True, layer=4, datatype=0))  # L4_0
lqfp_32_7x7mm_p0_8mm.add(gdstk.FlexPath([(-5180,3300),(-5180,0)], 50, ends="flush", simple_path=True, layer=4, datatype=0))  # L4_0
lqfp_32_7x7mm_p0_8mm.add(gdstk.FlexPath([(0,5180),(3300,5180)], 50, ends="flush", simple_path=True, layer=4, datatype=0))  # L4_0
lqfp_32_7x7mm_p0_8mm.add(gdstk.FlexPath([(3300,5180),(3300,3750)], 50, ends="flush", simple_path=True, layer=4, datatype=0))  # L4_0
lqfp_32_7x7mm_p0_8mm.add(gdstk.FlexPath([(3300,3750),(3750,3750)], 50, ends="flush", simple_path=True, layer=4, datatype=0))  # L4_0
lqfp_32_7x7mm_p0_8mm.add(gdstk.FlexPath([(3750,3750),(3750,3300)], 50, ends="flush", simple_path=True, layer=4, datatype=0))  # L4_0
lqfp_32_7x7mm_p0_8mm.add(gdstk.FlexPath([(3750,3300),(5180,3300)], 50, ends="flush", simple_path=True, layer=4, datatype=0))  # L4_0
lqfp_32_7x7mm_p0_8mm.add(gdstk.FlexPath([(5180,3300),(5180,0)], 50, ends="flush", simple_path=True, layer=4, datatype=0))  # L4_0
lqfp_32_7x7mm_p0_8mm.add(gdstk.Label('REF**', (0,-5880), layer=2, texttype=0))
lqfp_32_7x7mm_p0_8mm.add(gdstk.Label('LQFP-32_7x7mm_P0.8mm', (0,5880), layer=3, texttype=0))
lqfp_32_7x7mm_p0_8mm.add(gdstk.Label('%R', (0,0), layer=3, texttype=0))

lib.write_gds('LQFP-32_7x7mm_P0.8mm.gds')
